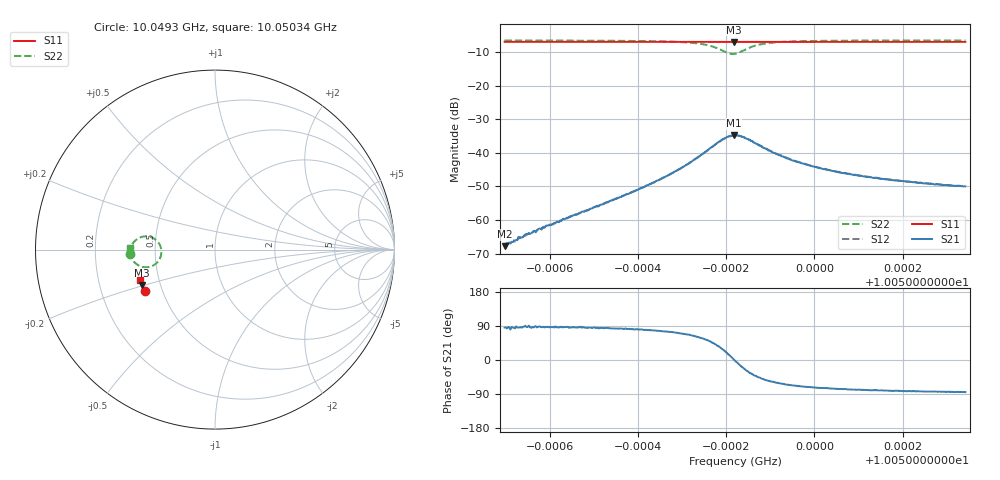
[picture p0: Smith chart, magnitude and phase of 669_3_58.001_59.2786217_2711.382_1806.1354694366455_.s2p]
#  HZ  S  RI  R  50.00
! Rohde & Schwarz Vector Network Analyzer
! Rohde-Schwarz,ZNB20-2Port,1311601062101988,3.16
! Created: UTC 3/21/2024, 1:20:17 AM
! freq[Hz]  re:S11  im:S11  re:S21  im:S21  re:S12  im:S12  re:S22  im:S22
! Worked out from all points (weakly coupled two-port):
!   401 points, 10.0493 GHz to 10.05034 GHz, reference 50 ohm
!   highest |S21| = -34.76 dB at 10.04982 GHz (marker M1); lowest = -67.8 dB at 10.0493 GHz (marker M2)
!   lowest |S11| = -6.9 dB at 10.04982 GHz (marker M3), VSWR 2.65, Z = 19.8 - j9.87 ohm
!   |S11| at or under -10 dB: nowhere
!   |S22| runs from -10.5 to -6.5 dB; largest |S21 - S12| = 0.0015
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1.0049297e10  -0.3918 -0.2298  3.21e-05 0.000406  2.1e-05 0.00043  -0.4739 -0.0261
1.004931e10  -0.3923 -0.229  7.45e-05 0.000439  1.19e-06 0.000428  -0.474 -0.025
1.0049347e10  -0.3935 -0.2268  3.05e-05 0.000622  -1.15e-05 0.000602  -0.4737 -0.0211
1.0049381e10  -0.3946 -0.2249  4.15e-05 0.000718  3.31e-06 0.000744  -0.4736 -0.0175
1.0049472e10  -0.3974 -0.2195  0.000114 0.00132  4.52e-06 0.00133  -0.4723 -0.00615
1.0049582e10  -0.4006 -0.2129  0.000372 0.00251  0.000239 0.00252  -0.4681 0.0121
1.0049647e10  -0.4026 -0.2089  0.00089 0.00387  0.000659 0.00389  -0.461 0.0287
1.004971e10  -0.4042 -0.2049  0.00255 0.00617  0.00216 0.0063  -0.4417 0.0526
1.0049747e10  -0.405 -0.2025  0.00531 0.00813  0.00481 0.00838  -0.4123 0.0695
1.0049773e10  -0.4053 -0.2007  0.00951 0.00895  0.0088 0.00952  -0.3712 0.0729
1.0049796e10  -0.4053 -0.1995  0.0151 0.00678  0.0145 0.00766  -0.321 0.0459
1.0049807e10  -0.4054 -0.199  0.0173 0.00406  0.0168 0.00539  -0.3041 0.0182
1.0049817e10  -0.4053 -0.1987  0.0183 0.000401  0.0182 0.00173  -0.2987 -0.0164
1.004982e10  -0.4054 -0.1987  0.0182 -0.000559  0.0183 0.000815  -0.2996 -0.0253
1.004983e10  -0.4058 -0.1985  0.0176 -0.004  0.0178 -0.00275  -0.3114 -0.0573
1.0049848e10  -0.4065 -0.1979  0.014 -0.00801  0.0147 -0.00699  -0.3501 -0.091
1.0049885e10  -0.4083 -0.196  0.00748 -0.00922  0.00816 -0.00889  -0.4148 -0.0931
1.004994e10  -0.41 -0.1927  0.00343 -0.00747  0.00395 -0.00732  -0.4526 -0.0663
1.0049995e10  -0.4116 -0.1892  0.00194 -0.00602  0.00235 -0.00597  -0.4648 -0.0465
1.005006e10  -0.4135 -0.1852  0.00119 -0.00493  0.00148 -0.00494  -0.4707 -0.0305
1.005017e10  -0.4163 -0.1785  0.000632 -0.00393  0.000874 -0.00395  -0.4741 -0.0126
1.0050342e10  -0.4204 -0.1679  0.000287 -0.00316  0.000475 -0.00315  -0.4754 0.00688
